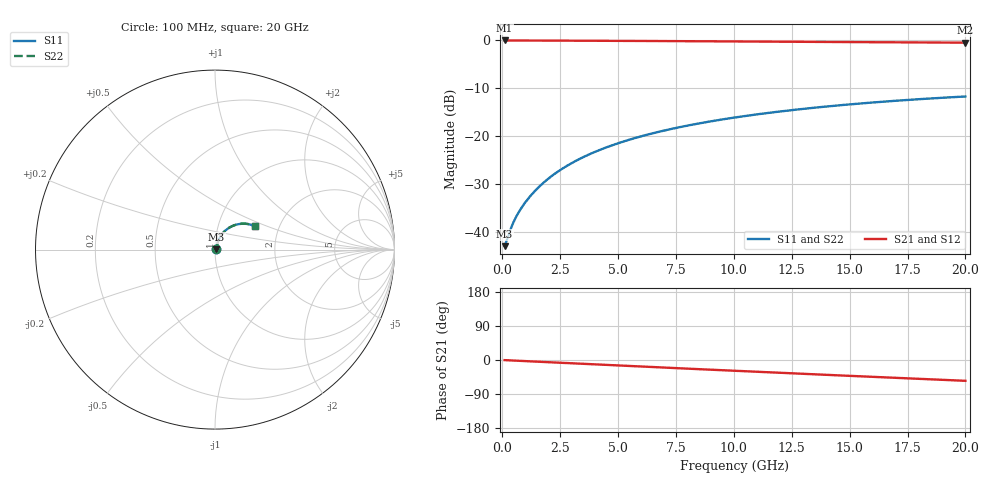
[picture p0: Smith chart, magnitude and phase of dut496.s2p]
! Touchstone file exported from HFSS 2026.1.0
!  File:  C:/ffzhzh/LocalFiles/Ansys_Project_Files/temp_train_TMRDL_496_1783006650_4048.aedt
!  Generated:  11:38:43 PM Jul  2, 2026
!  Design:  TMRDL
!  Project:  temp_train_TMRDL_496_1783006650_4048
! Variables:
!  h_bsmrdl = 2um
!  h_ox = 20um
!  h_rdl = 5um
!  h_sub = 80um
!  h_tmrdl = 3.26um
!  h_tsv = 80um
!  h_via = 3um
!  l_bsmrdl = 300um
!  l_sub = 1356.57um
!  l_tmrdl = 956.57um
!  m_sub = 200um
!  pitch = 24.19um
!  r_tsv = 6um
!  s_tmrdl = 10um
!  w_bsmrdl = 18um
!  w_sub = 500um
!  w_tmrdl = 15.74um
!  x_tsv_center1 = 964.44um
!  x_tsv_center2 = 1282.44um
!  x_tsv_center3 = 2254.75um
!  x_tsv_center4 = 2572.75um
!  x_tsv_center5 = 3545.06um
!  x_tsv_center6 = 3863.06um
# GHz S MA R 50.000000
! Terminal data exported
! Port[1] = TM_RDL1_1_T1
! Port[2] = TM_RDL1_1_T2
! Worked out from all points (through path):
!   200 points, 100 MHz to 20 GHz, reference 50 ohm
!   highest |S21| = -0.06 dB at 100 MHz (marker M1); lowest = -0.5 dB at 20 GHz (marker M2)
!   group delay of S21, straight-line fit = 7.61 ps
!   lowest |S11| = -43.0 dB at 100 MHz (marker M3), VSWR 1.01, Z = 50.7 + j0.224 ohm
!   |S11| at or under -10 dB: start of sweep to end of sweep
!   |S22| runs from -43.0 to -11.8 dB; largest |S21 - S12| = 4.1e-15
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0.1  0.007054 18.3  0.9933 -0.3  0.9933 -0.3  0.007054 18.3
! Gamma 0 0 0 0
! Port Impedance 50 0 50 0
0.4  0.01126 45.8  0.9923 -1.2  0.9923 -1.2  0.01126 45.8
0.6  0.01432 52.8  0.9917 -1.8  0.9917 -1.8  0.01432 52.8
0.7  0.01582 55.3  0.9914 -2.1  0.9914 -2.1  0.01582 55.3
0.9  0.01882 59.2  0.991 -2.7  0.991 -2.7  0.01881 59.2
1.1  0.02184 62.0  0.9907 -3.3  0.9907 -3.3  0.02184 62.0
1.3  0.02492 64.2  0.9905 -3.8  0.9905 -3.8  0.02491 64.2
1.5  0.02803 65.8  0.9902 -4.4  0.9902 -4.4  0.02803 65.8
1.8  0.03277 67.5  0.9899 -5.3  0.9899 -5.3  0.03277 67.5
2.3  0.04078 69.0  0.9892 -6.7  0.9892 -6.7  0.04077 69.0
2.9  0.05045 69.5  0.9883 -8.4  0.9883 -8.4  0.05045 69.6
3.5  0.0601 69.3  0.9873 -10.1  0.9873 -10.1  0.0601 69.3
4.2  0.07126 68.4  0.9859 -12.1  0.9859 -12.1  0.07125 68.5
5  0.0838 67.0  0.9841 -14.4  0.9841 -14.4  0.0838 67.1
5.9  0.09759 65.1  0.9819 -17.0  0.9819 -17.0  0.09758 65.2
6.8  0.111 63.0  0.9795 -19.5  0.9795 -19.5  0.111 63.2
8.3  0.1324 59.4  0.9752 -23.7  0.9752 -23.7  0.1324 59.5
10.1  0.1565 54.8  0.9699 -28.6  0.9699 -28.6  0.1565 55.0
11.7  0.1765 50.8  0.965 -33.0  0.965 -33.0  0.1765 51.0
13.4  0.1962 46.5  0.96 -37.5  0.96 -37.5  0.1962 46.7
16.7  0.2302 38.2  0.9505 -46.3  0.9505 -46.3  0.2302 38.5
20  0.2582 30.0  0.9421 -54.9  0.9421 -54.9  0.2581 30.4
